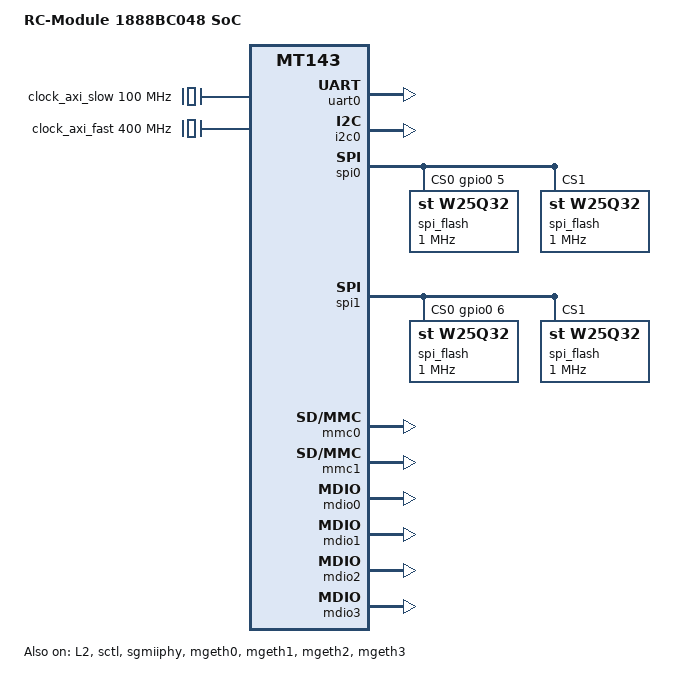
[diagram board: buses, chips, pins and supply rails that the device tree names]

/dts-v1/;
/ {
	model = "RC-Module 1888BC048 SoC";
	compatible = "rcm,1888BC048";
	#address-cells = <1>;
	#size-cells = <1>;


	config {
		   u-boot,spl-payload-offset = <0x060000>; 
	};

	chosen {
		stdout-path = "uart0";
	};

	aliases {
		uart0 = &uart0;
		mmc0 = &mmc0;
		mmc1 = &mmc1;
		spi0 = &spi0;
		spi1 = &spi1;
	}; 

	clock_axi_slow: clock_axi_slow@100M {
		#clock-cells = <0>;
		compatible = "fixed-clock";
		clock-frequency = <100000000>;
		u-boot,dm-pre-reloc;
	};

	clock_axi_fast: clock_axi_fast@400M {
		#clock-cells = <0>;
		compatible = "fixed-clock";
		clock-frequency = <400000000>;
		u-boot,dm-pre-reloc;
	};

	L2: l2-cache-controller@0x01106000 {
		compatible = "arm,pl310-cache";
		reg = <0x01106000 0x1000>;
		cache-unified;
		cache-level = <2>;
		status = "okay";
	};	

	axi {
		compatible = "simple-bus";
		#address-cells = <1>;
		#size-cells = <1>;
		u-boot,dm-pre-reloc;

		uart0: uart0@0x01044000 {
			compatible = "rcm,muart";			
			clocks = <&clock_axi_fast>;
			reg = <0x01044000 0x1000>;
			u-boot,dm-pre-reloc;
		};

		i2c0: i2c@0x01046000 {
			compatible = "rcm,i2cbasis";
			#address-cells = <1>;
			#size-cells = <0>;
			clocks = <&clock_axi_slow>;
			reg = <0x01046000 0x1000>;
			bus-clock = <100000>;
			write-delay = <5000>;
			rx-fifo-size = <128>;
			tx-fifo-size = <128>;
			u-boot,dm-pre-reloc;
			status = "okay";
		};

		gpio0: gpio0@0x01088000 {
			compatible = "rcm,gpio";
			#address-cells = <1>;
			#size-cells = <0>;
			clocks = <&clock_axi_slow>;
			reg = <0x01088000 0x1000>;
			#gpio-cells = <2>;
			gpio-controller;
			u-boot,dm-pre-reloc;
		};

		spi0: spi@0x01040000 {
			compatible = "rcm,pl022-spi";			
			#address-cells = <1>;
			#size-cells = <0>;
			clocks = <&clock_axi_slow>;
			reg = <0x01040000 0x1000>;
			spi-max-frequency = <25000000>;		
			cs-gpios = <&gpio0 5 0>, <0>;	
			u-boot,dm-pre-reloc;

			spi_flash@0 {
				compatible = "st,w25q32", "spi-flash";
				reg = <0>;
				spi-max-frequency = <1000000>;
				spi-cpol;
				spi-cpha;
				u-boot,dm-pre-reloc;								
			};			

			spi_flash@1 {
				compatible = "st,w25q32", "spi-flash";
				reg = <1>;
				spi-max-frequency = <1000000>;
				spi-cpol;
				spi-cpha;
				u-boot,dm-pre-reloc;								
			};			
		};

		spi1: spi@0x01041000 {
			compatible = "rcm,pl022-spi";			
			#address-cells = <1>;
			#size-cells = <0>;
			clocks = <&clock_axi_slow>;
			reg = <0x01041000 0x1000>;
			spi-max-frequency = <25000000>;		
			cs-gpios = <&gpio0 6 0>, <0>;	
			u-boot,dm-pre-reloc;

			spi_flash@0 {
				compatible = "st,w25q32", "spi-flash";
				reg = <0>;
				spi-max-frequency = <1000000>;
				spi-cpol;
				spi-cpha;
				u-boot,dm-pre-reloc;								
			};			

			spi_flash@1 {
				compatible = "st,w25q32", "spi-flash";
				reg = <1>;
				spi-max-frequency = <1000000>;
				spi-cpol;
				spi-cpha;
				u-boot,dm-pre-reloc;								
			};			
		};

		mmc0: mmc0@0x01042000 {
			compatible = "rcm,mmc-0.2";
			reg = <0x01042000 0x1000>;
			clocks = <&clock_axi_slow>;
			carddetect-gpio = <&gpio0 3 0>;
			u-boot,dm-pre-reloc;
			status = "okay";
		};

		mmc1: mmc1@0x01043000 {
			compatible = "rcm,mmc-0.2";
			reg = <0x01043000 0x1000>;
			clocks = <&clock_axi_slow>;
			carddetect-gpio = <&gpio0 4 0>;
			u-boot,dm-pre-reloc;
			status = "okay";
		};

		mdiomux0: mdiomux0@0x01084000 {
			compatible = "pinctrl-single";
			reg = <0x01084000 0x1000>;
			pinctrl-single,register-width = <32>;
			#address-cells = <1>;
			#size-cells = <0>;
			#pinctrl-cells = <2>;
			pinctrl-single,bit-per-mux;
			mdio0mux0: mdio0mux0 {
					pinctrl-single,bits = <0x24 0x00 0x03>;
			};
			mdio1mux0: mdio1mux0 {
					pinctrl-single,bits = <0x24 0x00 0x0C>;
			};
			mdio2mux0: mdio2mux0 {
					pinctrl-single,bits = <0x24 0x00 0x30>;
			};
			mdio3mux0: mdio3mux0 {
					pinctrl-single,bits = <0x24 0x00 0xC0>;
			};
		};

		mdiomux1: mdiomux1@0x01085000 {
			compatible = "pinctrl-single";
			reg = <0x01085000 0x1000>;
			pinctrl-single,register-width = <32>;
			#address-cells = <1>;
			#size-cells = <0>;
			#pinctrl-cells = <2>;
			pinctrl-single,bit-per-mux;
			mdio0mux1: mdio0mux1 {
					pinctrl-single,bits = <0x24 0x00 0x11>;
			};
			mdio1mux1: mdio1mux1 {
					pinctrl-single,bits = <0x24 0x00 0x22>;
			};
			mdio2mux1: mdio2mux1 {
					pinctrl-single,bits = <0x24 0x00 0x44>;
			};
			mdio3mux1: mdio3mux1 {
					pinctrl-single,bits = <0x24 0x00 0x88>;
			};
		};

		sctl: sctl@0x0108d000 {
			compatible = "syscon";
			reg = <0x0108d000 0x1000>;
			#address-cells = <1>;
			#size-cells = <1>;			
			status = "okay";
		};

		sgmiiphy: sgmiphy@0x01086000 {
			compatible = "rcm,sgmii-phy";
			reg = <0x01086000 0x2000>;
			#phy-cells = <0>;
			sctl = <&sctl>, <0x14>;
			auto-negotiation;
			status = "okay";
		};

		mdio0: mdio0@0x01080000 {
			compatible = "rcm,mdio";
			reg = <0x01080000 0x1000>;
			#address-cells = <1>;
			#size-cells = <0>;			
			clocks = <&clock_axi_slow>;		
			pinctrl-names = "default";
			pinctrl-0 = <&mdio0mux0>, <&mdio0mux1>;
			status = "okay";

			phy0: ethernet-phy@0 {
				reg = <0xffffffff>;	// autodetect
			};			
		};

		mgeth0: mgeth@0x01014000 {
			compatible = "rcm,mgeth";
			reg = <0x01014000 0x1000>;
			clocks = <&clock_axi_fast>;
			mac-address = [ec 17 66 64 08 10];
			phys = <&sgmiiphy>;
			phy = <&phy0>;
			phy-mode = "sgmii";
			status = "okay";
		};		

		mdio1: mdio1@0x01081000 {
			compatible = "rcm,mdio";
			reg = <0x01081000 0x1000>;
			#address-cells = <1>;
			#size-cells = <0>;			
			clocks = <&clock_axi_slow>;		
			pinctrl-names = "default";
			pinctrl-0 = <&mdio1mux0>, <&mdio1mux1>;
			status = "okay";

			phy1: ethernet-phy@0 {
				reg = <0xffffffff>;	// autodetect
			};			
		};

		mgeth1: mgeth@0x01015000 {
			compatible = "rcm,mgeth";
			reg = <0x01015000 0x1000>;
			clocks = <&clock_axi_fast>;
			mac-address = [ec 17 66 64 08 11];
			phys = <&sgmiiphy>;
			phy = <&phy1>;
			phy-mode = "sgmii";
			status = "okay";
		};		

		mdio2: mdio2@0x01082000 {
			compatible = "rcm,mdio";
			reg = <0x01082000 0x1000>;
			#address-cells = <1>;
			#size-cells = <0>;			
			clocks = <&clock_axi_slow>;		
			pinctrl-names = "default";
			pinctrl-0 = <&mdio2mux0>, <&mdio2mux1>;
			status = "okay";

			phy2: ethernet-phy@0 {
				reg = <0xffffffff>;	// autodetect
			};			
		};

		mgeth2: mgeth@0x01016000 {
			compatible = "rcm,mgeth";
			reg = <0x01016000 0x1000>;
			clocks = <&clock_axi_fast>;
			mac-address = [ec 17 66 64 08 12];
			phys = <&sgmiiphy>;
			phy = <&phy2>;
			phy-mode = "sgmii";
			status = "okay";
		};		

		mdio3: mdio3@0x01083000 {
			compatible = "rcm,mdio";
			reg = <0x01083000 0x1000>;
			#address-cells = <1>;
			#size-cells = <0>;			
			clocks = <&clock_axi_slow>;		
			pinctrl-names = "default";
			pinctrl-0 = <&mdio3mux0>, <&mdio3mux1>;
			status = "okay";

			phy3: ethernet-phy@0 {
				reg = <0xffffffff>;	// autodetect
			};			
		};

		mgeth3: mgeth@0x01017000 {
			compatible = "rcm,mgeth";
			reg = <0x01017000 0x1000>;
			clocks = <&clock_axi_fast>;
			mac-address = [ec 17 66 64 08 13];
			phys = <&sgmiiphy>;
			phy = <&phy3>;
			phy-mode = "sgmii";
			status = "okay";
		};		

	};
};
